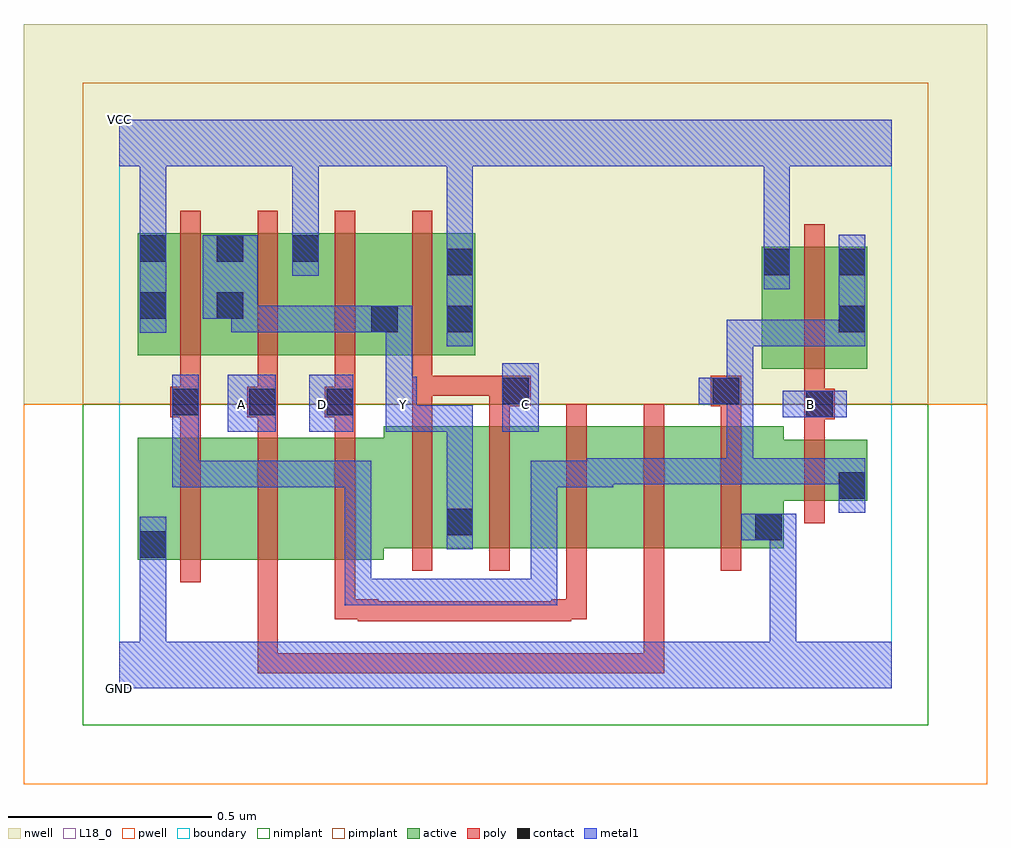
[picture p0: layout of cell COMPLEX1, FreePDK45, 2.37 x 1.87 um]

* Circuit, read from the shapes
.subckt COMPLEX1 A B C D GND VCC Y
M1 n1 n2 GND VSUBS nfet w=0.3u l=0.05u
M2 n3 A n1 VSUBS nfet w=0.3u l=0.05u
M3 n4 D n3 VSUBS nfet w=0.3u l=0.05u
M4 Y C n4 VSUBS nfet w=0.3u l=0.05u
M5 n5 C Y VSUBS nfet w=0.3u l=0.05u
M6 n6 D n5 VSUBS nfet w=0.3u l=0.05u
M7 n7 A n6 VSUBS nfet w=0.3u l=0.05u
M8 GND n2 n7 VSUBS nfet w=0.3u l=0.05u
M9 n2 B GND VSUBS nfet w=0.15u l=0.05u
M10 Y n2 VCC n8 pfet w=0.3u l=0.05u
M11 VCC A Y n8 pfet w=0.3u l=0.05u
M12 Y D VCC n8 pfet w=0.3u l=0.05u
M13 VCC C Y n8 pfet w=0.3u l=0.05u
M14 n2 B VCC n8 pfet w=0.3u l=0.05u
.ends

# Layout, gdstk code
import gdstk
lib = gdstk.Library(unit=1e-6, precision=1e-09)
def R(c, l, rs):  # rectangles x0, y0, x1, y1
    for r in rs: c.add(gdstk.rectangle(r[:2], r[2:], *l))
def A(c, l, x, y, w, h, nx, ny, dx, dy):  # array of equal rectangles
    R(c, l, [(x+i*dx, y+j*dy, x+i*dx+w, y+j*dy+h) for i in range(nx) for j in range(ny)])
active = (1, 0)
pwell = (2, 0)
nwell = (3, 0)
nimplant = (4, 0)
pimplant = (5, 0)
poly = (9, 0)
contact = (10, 0)
metal1 = (11, 0)
L18_0 = (18, 0)
boundary = (235, 0)

complex1 = lib.new_cell('COMPLEX1')
R(complex1, active, [(0.045,0.317,0.27,0.617), (0.045,0.317,0.12,0.617), (0.27,0.317,0.46,0.617), (0.46,0.317,0.65,0.617), (0.65,0.345,0.875,0.645), (0.8,0.345,1.03,0.645), (0.8,0.345,0.875,0.645), (1.03,0.345,1.22,0.645), (1.22,0.345,1.41,0.645), (1.41,0.345,1.635,0.645), (1.56,0.36,1.635,0.462), (1.56,0.462,1.84,0.612), (1.765,0.462,1.84,0.612), (1.58,0.787,1.655,1.087), (1.58,0.787,1.84,1.087), (1.765,0.787,1.84,1.087), (0.045,0.82,0.12,1.12), (0.045,0.82,0.31,1.12), (0.235,0.82,0.31,1.12), (0.235,0.82,0.495,1.12), (0.42,0.82,0.69,1.12), (0.615,0.82,0.875,1.12), (0.615,0.82,0.69,1.092), (0.8,0.82,0.875,1.092), (0.42,0.872,0.495,1.12)])
R(complex1, pwell, [(-0.235,-0.235,2.135,0.7)])
R(complex1, nwell, [(-0.235,0.7,2.135,1.635)])
R(complex1, nimplant, [(-0.09,-0.09,1.99,0.7)])
R(complex1, pimplant, [(-0.09,0.7,1.99,1.49)])
A(complex1, poly, 0.15, 0.262, 0.05, 0.41, 3, 1, 0.19, 0)
A(complex1, poly, 0.72, 0.29, 0.05, 0.41, 5, 1, 0.19, 0)
A(complex1, poly, 0.15, 0.622, 0.05, 0.095, 3, 1, 0.19, 0)
A(complex1, poly, 0.125, 0.667, 0.075, 0.075, 3, 1, 0.19, 0)
A(complex1, poly, 0.15, 0.692, 0.05, 0.123, 3, 1, 0.19, 0)
A(complex1, poly, 0.15, 0.765, 0.05, 0.41, 4, 1, 0.19, 0)
R(complex1, poly, [(0.34,0.037,0.39,0.087), (0.34,0.037,0.39,0.087), (0.34,0.037,0.39,0.087), (0.34,0.037,0.39,0.087), (0.34,0.037,0.39,0.087), (0.34,0.037,0.542,0.087), (0.34,0.037,0.39,0.312), (0.492,0.037,0.542,0.087), (0.492,0.037,0.542,0.087), (0.492,0.037,0.542,0.087), (0.492,0.037,0.712,0.087), (0.662,0.037,0.712,0.087), (0.662,0.037,0.98,0.087), (0.93,0.037,0.98,0.087), (0.93,0.037,0.98,0.087), (0.93,0.037,0.98,0.087), (0.93,0.037,1.207,0.087), (1.157,0.037,1.207,0.087), (1.157,0.037,1.207,0.087), (1.157,0.037,1.207,0.087), (1.157,0.037,1.34,0.087), (1.29,0.037,1.34,0.34), (1.29,0.037,1.34,0.087), (1.29,0.037,1.34,0.087), (1.29,0.037,1.34,0.087), (1.29,0.037,1.34,0.087), (1.29,0.037,1.34,0.087), (0.587,0.165,0.637,0.22), (0.587,0.165,0.827,0.215), (0.777,0.165,0.827,0.215), (0.777,0.165,0.867,0.215), (0.817,0.165,0.867,0.215), (0.817,0.165,1.017,0.215), (0.967,0.165,1.017,0.215), (0.967,0.165,1.112,0.215), (1.062,0.165,1.112,0.22), (0.53,0.17,0.58,0.22), (0.53,0.17,0.637,0.22), (0.53,0.17,0.58,0.312), (1.062,0.17,1.15,0.22), (1.1,0.17,1.15,0.22), (1.1,0.17,1.15,0.34), (1.685,0.407,1.735,0.667), (1.685,0.617,1.735,0.712), (0.72,0.65,0.77,0.77), (0.91,0.65,0.96,0.745), (1.48,0.65,1.53,0.745), (1.685,0.662,1.76,0.737), (1.685,0.687,1.735,0.782), (0.91,0.695,1.012,0.77), (1.455,0.695,1.53,0.77), (0.72,0.72,0.77,0.815), (0.72,0.72,0.77,0.77), (0.72,0.72,0.77,0.77), (0.72,0.72,0.77,0.77), (0.72,0.72,0.96,0.77), (1.685,0.732,1.735,1.142)])
A(complex1, contact, 0.13, 0.672, 0.065, 0.065, 3, 1, 0.19, 0)
R(complex1, contact, [(0.05,0.322,0.115,0.387), (1.565,0.365,1.63,0.43), (0.805,0.377,0.87,0.442), (1.77,0.467,1.835,0.532), (1.69,0.667,1.755,0.732), (0.942,0.7,1.007,0.765), (1.46,0.7,1.525,0.765), (0.62,0.877,0.685,0.942), (0.805,0.877,0.87,0.942), (1.77,0.877,1.835,0.942), (0.05,0.91,0.115,0.975), (0.24,0.91,0.305,0.975), (0.805,1.017,0.87,1.082), (1.585,1.017,1.65,1.082), (1.77,1.017,1.835,1.082), (0.05,1.05,0.115,1.115), (0.24,1.05,0.305,1.115), (0.425,1.05,0.49,1.115)])
R(complex1, metal1, [(0,0,1.9,0.115), (0.05,0.05,0.115,0.352), (1.6,0.05,1.665,0.43), (0.555,0.205,0.62,0.27), (0.555,0.205,0.62,0.56), (0.555,0.205,0.87,0.27), (0.805,0.205,0.87,0.27), (0.805,0.205,0.87,0.27), (0.805,0.205,0.87,0.27), (0.805,0.205,1.077,0.27), (1.012,0.205,1.077,0.27), (1.012,0.205,1.077,0.27), (1.012,0.205,1.077,0.27), (1.012,0.205,1.077,0.56), (0.05,0.287,0.115,0.352), (0.05,0.287,0.115,0.352), (0.05,0.287,0.115,0.352), (0.05,0.287,0.115,0.352), (0.05,0.287,0.115,0.422), (0.805,0.342,0.87,0.477), (1.53,0.365,1.665,0.43), (1.6,0.365,1.665,0.43), (1.6,0.365,1.665,0.43), (1.6,0.365,1.665,0.43), (1.6,0.365,1.665,0.43), (0.805,0.412,0.87,0.697), (1.77,0.432,1.835,0.567), (0.13,0.495,0.195,0.56), (0.13,0.495,0.195,0.702), (0.13,0.495,0.332,0.56), (0.267,0.495,0.332,0.56), (0.267,0.495,0.477,0.56), (0.412,0.495,0.477,0.56), (0.412,0.495,0.62,0.56), (0.555,0.495,0.62,0.56), (0.555,0.495,0.62,0.56), (0.555,0.495,0.62,0.56), (1.012,0.495,1.077,0.56), (1.012,0.495,1.215,0.56), (1.15,0.495,1.215,0.567), (1.15,0.502,1.215,0.567), (1.15,0.502,1.215,0.567), (1.15,0.502,1.352,0.567), (1.287,0.502,1.352,0.567), (1.287,0.502,1.352,0.567), (1.287,0.502,1.352,0.567), (1.287,0.502,1.56,0.567), (1.495,0.502,1.56,0.567), (1.495,0.502,1.56,0.567), (1.495,0.502,1.56,0.567), (1.495,0.502,1.835,0.567), (1.495,0.502,1.56,0.765), (1.77,0.502,1.835,0.567), (1.77,0.502,1.835,0.567), (0.267,0.632,0.385,0.772), (0.467,0.632,0.575,0.772), (0.655,0.632,0.732,0.767), (0.667,0.632,0.87,0.697), (0.805,0.632,0.87,0.697), (0.805,0.632,0.87,0.697), (0.805,0.632,0.87,0.697), (0.942,0.632,1.032,0.8), (0.13,0.637,0.195,0.702), (0.13,0.637,0.195,0.702), (0.13,0.637,0.195,0.772), (1.632,0.667,1.79,0.732), (1.425,0.7,1.56,0.765), (1.495,0.7,1.56,0.765), (1.495,0.7,1.56,0.765), (1.495,0.7,1.56,0.907), (0.655,0.702,0.72,0.942), (0.805,0.842,0.87,1.117), (1.495,0.842,1.56,0.907), (1.495,0.842,1.835,0.907), (1.77,0.842,1.835,0.907), (1.77,0.842,1.835,0.907), (1.77,0.842,1.835,1.117), (0.05,0.875,0.115,1.15), (0.275,0.877,0.477,0.942), (0.275,0.877,0.34,0.975), (0.412,0.877,0.477,0.942), (0.412,0.877,0.477,0.942), (0.412,0.877,0.477,0.942), (0.412,0.877,0.65,0.942), (0.585,0.877,0.72,0.942), (0.205,0.91,0.34,1.115), (0.275,0.91,0.34,0.975), (1.585,0.982,1.65,1.117), (0.425,1.015,0.49,1.15), (0.805,1.052,0.87,1.35), (1.585,1.052,1.65,1.35), (0.05,1.085,0.115,1.15), (0.05,1.085,0.115,1.15), (0.05,1.085,0.115,1.35), (0.425,1.085,0.49,1.35), (0,1.285,1.9,1.4), (0.425,1.285,0.49,1.35), (0.425,1.285,0.49,1.35), (0.805,1.285,0.87,1.35), (0.805,1.285,0.87,1.35), (1.585,1.285,1.65,1.35), (1.585,1.285,1.65,1.35)])
A(complex1, L18_0, 0.267, 0.667, 0.065, 0.065, 3, 1, 0.2, 0)
R(complex1, L18_0, [(0,0,1.9,0.115), (0.05,0.05,0.115,0.352), (1.6,0.05,1.665,0.43), (0.05,0.287,0.115,0.352), (0.05,0.287,0.115,0.352), (0.05,0.287,0.115,0.352), (0.05,0.287,0.115,0.352), (0.05,0.287,0.115,0.422), (0.805,0.342,0.87,0.477), (1.53,0.365,1.665,0.43), (1.6,0.365,1.665,0.43), (1.6,0.365,1.665,0.43), (1.6,0.365,1.665,0.43), (1.6,0.365,1.665,0.43), (0.805,0.412,0.87,0.697), (0.267,0.632,0.385,0.772), (0.467,0.632,0.575,0.772), (0.655,0.632,0.732,0.767), (0.667,0.632,0.87,0.697), (0.805,0.632,0.87,0.697), (0.805,0.632,0.87,0.697), (0.805,0.632,0.87,0.697), (0.942,0.632,1.032,0.8), (0.967,0.667,1.032,0.732), (1.632,0.667,1.79,0.732), (1.667,0.667,1.732,0.732), (0.655,0.702,0.72,0.942), (0.805,0.842,0.87,1.117), (0.05,0.875,0.115,1.15), (0.275,0.877,0.34,0.975), (0.275,0.877,0.477,0.942), (0.412,0.877,0.477,0.942), (0.412,0.877,0.477,0.942), (0.412,0.877,0.477,0.942), (0.412,0.877,0.65,0.942), (0.585,0.877,0.72,0.942), (0.205,0.91,0.34,1.115), (0.275,0.91,0.34,0.975), (1.585,0.982,1.65,1.117), (0.425,1.015,0.49,1.15), (0.805,1.052,0.87,1.35), (1.585,1.052,1.65,1.35), (0.05,1.085,0.115,1.15), (0.05,1.085,0.115,1.15), (0.05,1.085,0.115,1.35), (0.425,1.085,0.49,1.35), (0,1.285,1.9,1.4), (0.425,1.285,0.49,1.35), (0.425,1.285,0.49,1.35), (0.805,1.285,0.87,1.35), (0.805,1.285,0.87,1.35), (1.585,1.285,1.65,1.35), (1.585,1.285,1.65,1.35)])
R(complex1, boundary, [(0,0,1.9,1.4)])
complex1.add(gdstk.Label('A', (0.3,0.7), layer=11, texttype=0))
complex1.add(gdstk.Label('B', (1.7,0.7), layer=11, texttype=0))
complex1.add(gdstk.Label('C', (1,0.7), layer=11, texttype=0))
complex1.add(gdstk.Label('D', (0.5,0.7), layer=11, texttype=0))
complex1.add(gdstk.Label('Y', (0.7,0.7), layer=11, texttype=0))
complex1.add(gdstk.Label('VCC', (0,1.4), layer=11, texttype=0))
complex1.add(gdstk.Label('GND', (0,0), layer=11, texttype=0))

lib.write_gds('COMPLEX1.gds')
